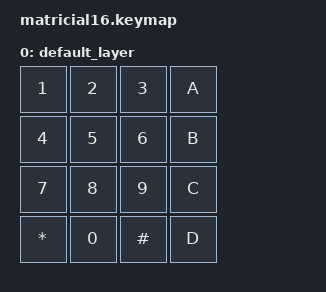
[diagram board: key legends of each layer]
/*
 * Copyright (c) 2020 The ZMK Contributors
 *
 * SPDX-License-Identifier: MIT
 */

#include <behaviors.dtsi>
#include <dt-bindings/zmk/keys.h>

/ {
    keymap {
        compatible = "zmk,keymap";

        default_layer {
            bindings = <
                &kp N1    &kp N2    &kp N3    &kp A
                &kp N4    &kp N5    &kp N6    &kp B
                &kp N7    &kp N8    &kp N9    &kp C
                &kp ASTRK &kp N0    &kp HASH  &kp D
            >;
        };
    };
};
